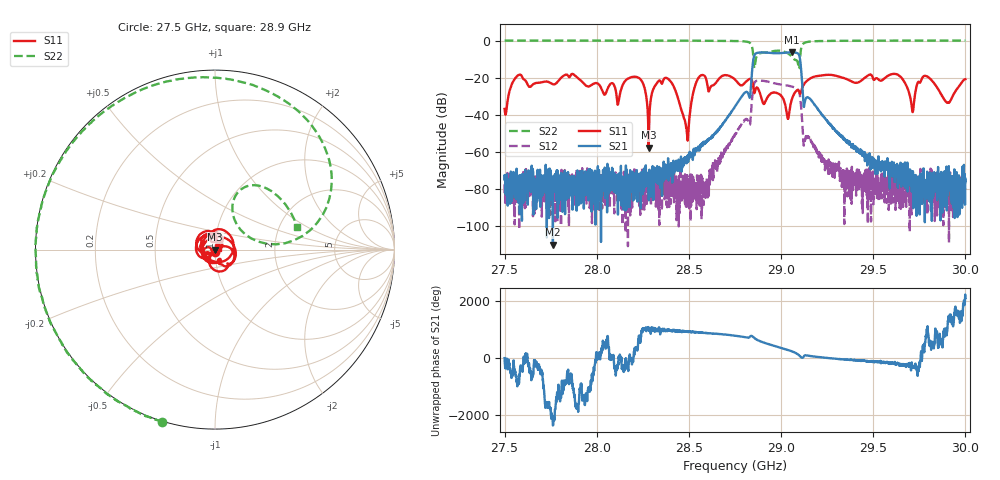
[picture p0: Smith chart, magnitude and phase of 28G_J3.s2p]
!Keysight Technologies,N5234A,MY55441357,A.10.47.05
!Date: Sunday, November 19, 2017 13:14:54
!Correction: S11(Full 2 Port(1,2))
!S21(Full 2 Port(1,2))
!S12(Full 2 Port(1,2))
!S22(Full 2 Port(1,2))
!S2P File: Measurements: S11, S21, S12, S22:
# Hz S  dB  R 50
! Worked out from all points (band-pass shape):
!   2501 points, 27.5 GHz to 30 GHz, reference 50 ohm
!   highest |S21| = -6.26 dB at 29.06 GHz (marker M1); lowest = -109.8 dB at 27.76 GHz (marker M2)
!   |S21| within 3 dB of the highest: 28.85 GHz to 29.1 GHz (250.2 MHz wide, 0.863 % of centre)
!   lowest |S11| = -57.6 dB at 28.28 GHz (marker M3), VSWR 1.00, Z = 50.1 + j0.0338 ohm
!   |S11| at or under -10 dB: start of sweep to end of sweep
!   |S22| runs from -15.2 to 0.1 dB; largest |S21 - S12| = 0.45
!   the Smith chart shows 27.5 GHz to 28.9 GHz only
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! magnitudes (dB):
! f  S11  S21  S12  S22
! 27.5 GHz  -36.8  -72.7  -82.2  0.0
! 27.57 GHz  -18.6  -87.2  -75.3  0.0
! 27.76 GHz  -23.5  -109.8  -73.7  0.0
! 27.92 GHz  -21.8  -79.3  -77.8  0.0
! 28.12 GHz  -33.5  -72.9  -86.4  0.0
! 28.22 GHz  -19.8  -84.7  -76.4  0.0
! 28.28 GHz  -57.6  -79.9  -74.6  0.0
! 28.33 GHz  -21.9  -71.7  -68.8  0.0
! 28.41 GHz  -23.0  -68.5  -76.7  0.0
! 28.49 GHz  -49.8  -62.3  -79.8  0.0
! 28.56 GHz  -19.2  -59.0  -83.1  0.0
! 28.75 GHz  -21.0  -35.5  -50.5  -0.2
! 28.83 GHz  -20.8  -29.8  -44.7  -0.9
! 28.86 GHz  -25.4  -6.8  -21.8  -9.1
! 29.06 GHz  -31.5  -6.3  -24.7  -8.8
! 29.17 GHz  -19.9  -32.5  -55.1  -0.4
! 29.34 GHz  -20.0  -52.7  -70.0  -0.1
! 29.58 GHz  -18.7  -71.3  -91.2  0.0
! 29.71 GHz  -37.9  -70.4  -77.4  0.0
! 29.78 GHz  -19.0  -75.5  -83.4  0.0
! 29.9 GHz  -33.5  -80.5  -81.0  0.1
! 30 GHz  -20.8  -75.6  -74.5  0.1
